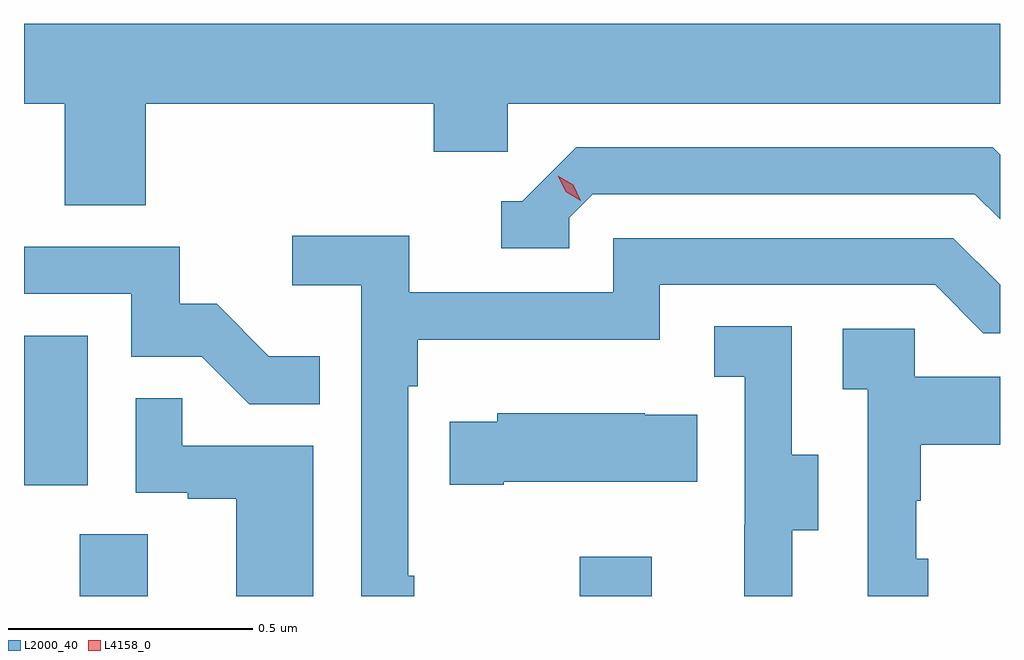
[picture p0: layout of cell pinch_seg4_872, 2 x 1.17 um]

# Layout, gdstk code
import gdstk
lib = gdstk.Library(unit=1e-6, precision=1e-09)
def R(c, l, rs):  # rectangles x0, y0, x1, y1
    for r in rs: c.add(gdstk.rectangle(r[:2], r[2:], *l))
def P(c, l, *ps):  # polygons
    for p in ps: c.add(gdstk.Polygon(p, *l))
L2000_40 = (2000, 40)
L4158_0 = (4158, 0)

pinch_seg4_872 = lib.new_cell('pinch_seg4_872')
R(pinch_seg4_872, L2000_40, [(863.435,795.811,863.575,795.938), (864.46,795.811,864.607,795.892), (863.321,796.038,863.452,796.345)])
P(pinch_seg4_872, L2000_40, [(863.57,796.82),(864.161,796.82),(864.161,796.722),(864.312,796.722),(864.312,796.82),(865.321,796.82),(865.321,796.984),(863.321,796.984),(863.321,796.82),(863.405,796.82),(863.405,796.612),(863.57,796.612)],
  [(864.438,796.587),(864.486,796.635),(865.269,796.635),(865.321,796.583),(865.321,796.716),(865.306,796.731),(864.453,796.731),(864.342,796.62),(864.299,796.62),(864.299,796.524),(864.438,796.524)],
  [(864.121,795.853),(864.108,795.853),(864.108,796.241),(864.128,796.241),(864.128,796.337),(864.624,796.337),(864.624,796.449),(865.188,796.449),(865.287,796.35),(865.321,796.35),(865.321,796.449),(865.225,796.545),(864.528,796.545),(864.528,796.434),(864.11,796.434),(864.11,796.55),(863.871,796.55),(863.871,796.448),(864.012,796.448),(864.012,795.811),(864.121,795.811)],
  [(863.927,796.303),(863.823,796.303),(863.716,796.41),(863.64,796.41),(863.64,796.527),(863.321,796.527),(863.321,796.431),(863.541,796.431),(863.541,796.302),(863.685,796.302),(863.783,796.204),(863.927,796.204)],
  [(864.895,795.946),(864.949,795.946),(864.949,796.101),(864.894,796.101),(864.894,796.364),(864.735,796.364),(864.735,796.261),(864.798,796.261),(864.798,795.957),(864.797,795.957),(864.797,795.811),(864.895,795.811)],
  [(865.174,795.888),(865.149,795.888),(865.149,796.007),(865.159,796.007),(865.159,796.121),(865.321,796.121),(865.321,796.261),(865.146,796.261),(865.146,796.359),(864.999,796.359),(864.999,796.235),(865.05,796.235),(865.05,795.811),(865.174,795.811)],
  [(863.914,796.119),(863.645,796.119),(863.645,796.217),(863.55,796.217),(863.55,796.023),(863.657,796.023),(863.657,796.011),(863.756,796.011),(863.756,795.811),(863.914,795.811)],
  [(864.304,796.046),(864.701,796.046),(864.701,796.183),(864.593,796.183),(864.593,796.186),(864.291,796.186),(864.291,796.168),(864.193,796.168),(864.193,796.039),(864.304,796.039)])
P(pinch_seg4_872, L4158_0, [(864.462,796.621),(864.431,796.64),(864.415,796.673),(864.415,796.673),(864.415,796.673),(864.446,796.654),(864.462,796.621),(864.462,796.621)])

lib.write_gds('pinch_seg4_872.gds')
